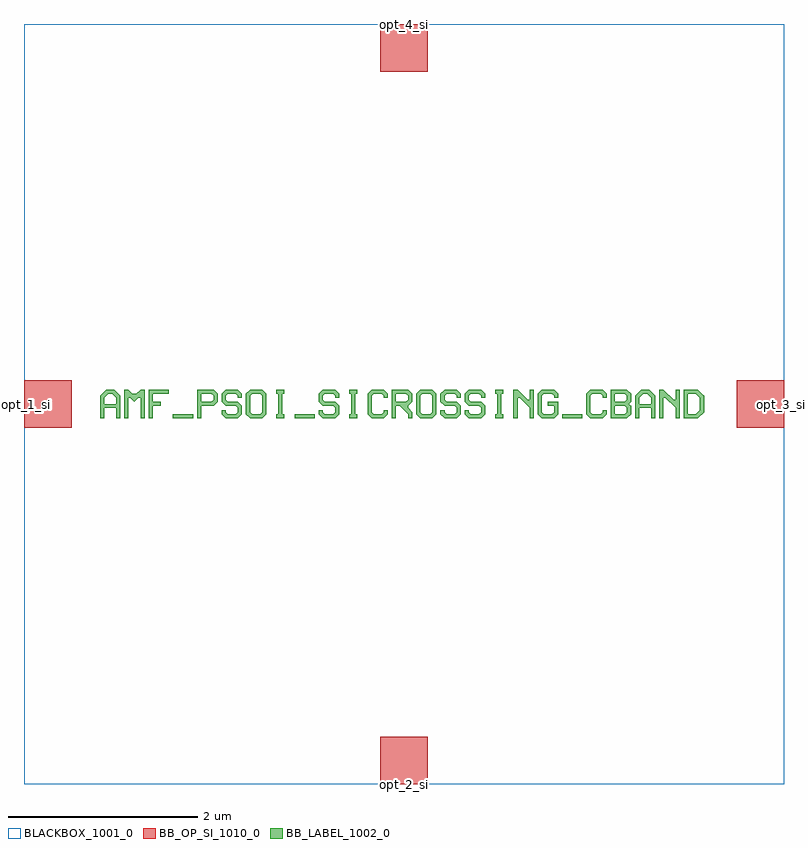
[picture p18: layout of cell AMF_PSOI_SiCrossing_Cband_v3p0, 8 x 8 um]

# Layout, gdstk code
import gdstk
lib = gdstk.Library(unit=1e-6, precision=1e-09)
def R(c, l, rs):  # rectangles x0, y0, x1, y1
    for r in rs: c.add(gdstk.rectangle(r[:2], r[2:], *l))
def P(c, l, *ps):  # polygons
    for p in ps: c.add(gdstk.Polygon(p, *l))
BLACKBOX_1001_0 = (1001, 0)
BB_LABEL_1002_0 = (1002, 0)
BB_OP_SI_1010_0 = (1010, 0)

amf_psoi_sicrossing_cban = lib.new_cell('AMF_PSOI_SiCrossing_Cband_v3p0')
R(amf_psoi_sicrossing_cban, BLACKBOX_1001_0, [(0,-4,8,4)])
R(amf_psoi_sicrossing_cban, BB_LABEL_1002_0, [(1.568,-0.149,1.782,-0.106), (2.848,-0.149,3.062,-0.106), (5.664,-0.149,5.878,-0.106)])
P(amf_psoi_sicrossing_cban, BB_LABEL_1002_0, [(0.8,-0.149),(0.8,0.086),(0.864,0.15),(0.949,0.15),(0.992,0.107),(0.885,0.107),(0.843,0.065),(0.843,0),(0.971,0),(0.971,0.065),(0.928,0.107),(0.992,0.107),(1.014,0.086),(1.014,-0.149),(0.971,-0.149),(0.971,-0.042),(0.843,-0.042),(0.843,-0.149)],
  [(1.056,-0.149),(1.056,0.15),(1.099,0.15),(1.141,0.107),(1.184,0.107),(1.227,0.15),(1.27,0.15),(1.27,-0.149),(1.227,-0.149),(1.227,0.065),(1.205,0.065),(1.163,0.022),(1.12,0.065),(1.099,0.065),(1.099,-0.149)],
  [(1.312,-0.149),(1.312,0.15),(1.526,0.15),(1.526,0.107),(1.355,0.107),(1.355,0.022),(1.44,0.022),(1.44,-0.021),(1.355,-0.021),(1.355,-0.149)],
  [(1.824,-0.149),(1.824,0.15),(1.995,0.15),(2.038,0.107),(2.038,0.022),(1.995,-0.021),(1.867,-0.021),(1.867,0.022),(1.973,0.022),(1.995,0.043),(1.995,0.086),(1.973,0.107),(1.867,0.107),(1.867,-0.149)],
  [(2.123,-0.149),(2.08,-0.106),(2.08,-0.064),(2.123,-0.064),(2.123,-0.085),(2.144,-0.106),(2.229,-0.106),(2.251,-0.085),(2.251,-0.042),(2.229,-0.021),(2.123,-0.021),(2.08,0.022),(2.08,0.107),(2.123,0.15),(2.251,0.15),(2.294,0.107),(2.294,0.065),(2.251,0.065),(2.251,0.086),(2.229,0.107),(2.144,0.107),(2.123,0.086),(2.123,0.043),(2.144,0.022),(2.251,0.022),(2.294,-0.021),(2.294,-0.106),(2.251,-0.149)],
  [(2.379,-0.149),(2.336,-0.106),(2.336,0.107),(2.379,0.15),(2.507,0.15),(2.55,0.107),(2.55,0),(2.507,0),(2.507,0.086),(2.485,0.107),(2.4,0.107),(2.379,0.086),(2.379,-0.085),(2.4,-0.106),(2.485,-0.106),(2.507,-0.085),(2.507,0),(2.55,0),(2.55,-0.106),(2.507,-0.149)],
  [(2.656,-0.149),(2.656,-0.106),(2.677,-0.106),(2.677,0.107),(2.656,0.107),(2.656,0.15),(2.741,0.15),(2.741,0.107),(2.72,0.107),(2.72,-0.106),(2.741,-0.106),(2.741,-0.149)],
  [(3.147,-0.149),(3.104,-0.106),(3.104,-0.064),(3.147,-0.064),(3.147,-0.085),(3.168,-0.106),(3.253,-0.106),(3.275,-0.085),(3.275,-0.042),(3.253,-0.021),(3.147,-0.021),(3.104,0.022),(3.104,0.107),(3.147,0.15),(3.275,0.15),(3.318,0.107),(3.318,0.065),(3.275,0.065),(3.275,0.086),(3.253,0.107),(3.168,0.107),(3.147,0.086),(3.147,0.043),(3.168,0.022),(3.275,0.022),(3.318,-0.021),(3.318,-0.106),(3.275,-0.149)],
  [(3.424,-0.149),(3.424,-0.106),(3.445,-0.106),(3.445,0.107),(3.424,0.107),(3.424,0.15),(3.509,0.15),(3.509,0.107),(3.488,0.107),(3.488,-0.106),(3.509,-0.106),(3.509,-0.149)],
  [(3.659,-0.149),(3.616,-0.106),(3.616,0.107),(3.659,0.15),(3.787,0.15),(3.83,0.107),(3.83,0.065),(3.787,0.065),(3.787,0.086),(3.765,0.107),(3.68,0.107),(3.659,0.086),(3.659,-0.085),(3.68,-0.106),(3.765,-0.106),(3.787,-0.085),(3.787,-0.064),(3.83,-0.064),(3.83,-0.106),(3.787,-0.149)],
  [(3.872,-0.149),(3.872,0.15),(4.043,0.15),(4.086,0.107),(3.915,0.107),(3.915,0.022),(4.021,0.022),(4.043,0.043),(4.043,0.086),(4.021,0.107),(4.086,0.107),(4.086,0.022),(4.043,-0.021),(4.043,-0.042),(4.086,-0.085),(4.086,-0.149),(4.043,-0.149),(4.043,-0.106),(3.957,-0.021),(3.915,-0.021),(3.915,-0.149)],
  [(4.171,-0.149),(4.128,-0.106),(4.128,0.107),(4.171,0.15),(4.299,0.15),(4.342,0.107),(4.342,0),(4.299,0),(4.299,0.086),(4.277,0.107),(4.192,0.107),(4.171,0.086),(4.171,-0.085),(4.192,-0.106),(4.277,-0.106),(4.299,-0.085),(4.299,0),(4.342,0),(4.342,-0.106),(4.299,-0.149)],
  [(4.427,-0.149),(4.384,-0.106),(4.384,-0.064),(4.427,-0.064),(4.427,-0.085),(4.448,-0.106),(4.533,-0.106),(4.555,-0.085),(4.555,-0.042),(4.533,-0.021),(4.427,-0.021),(4.384,0.022),(4.384,0.107),(4.427,0.15),(4.555,0.15),(4.598,0.107),(4.598,0.065),(4.555,0.065),(4.555,0.086),(4.533,0.107),(4.448,0.107),(4.427,0.086),(4.427,0.043),(4.448,0.022),(4.555,0.022),(4.598,-0.021),(4.598,-0.106),(4.555,-0.149)],
  [(4.683,-0.149),(4.64,-0.106),(4.64,-0.064),(4.683,-0.064),(4.683,-0.085),(4.704,-0.106),(4.789,-0.106),(4.811,-0.085),(4.811,-0.042),(4.789,-0.021),(4.683,-0.021),(4.64,0.022),(4.64,0.107),(4.683,0.15),(4.811,0.15),(4.854,0.107),(4.854,0.065),(4.811,0.065),(4.811,0.086),(4.789,0.107),(4.704,0.107),(4.683,0.086),(4.683,0.043),(4.704,0.022),(4.811,0.022),(4.854,-0.021),(4.854,-0.106),(4.811,-0.149)],
  [(4.96,-0.149),(4.96,-0.106),(4.981,-0.106),(4.981,0.107),(4.96,0.107),(4.96,0.15),(5.045,0.15),(5.045,0.107),(5.024,0.107),(5.024,-0.106),(5.045,-0.106),(5.045,-0.149)],
  [(5.152,-0.149),(5.152,0.15),(5.195,0.15),(5.301,0.043),(5.323,0.043),(5.323,0.15),(5.366,0.15),(5.366,-0.149),(5.323,-0.149),(5.323,-0.042),(5.216,0.065),(5.195,0.065),(5.195,-0.149)],
  [(5.451,-0.149),(5.408,-0.106),(5.408,0.107),(5.451,0.15),(5.579,0.15),(5.622,0.107),(5.622,0.065),(5.579,0.065),(5.579,0.086),(5.557,0.107),(5.472,0.107),(5.451,0.086),(5.451,-0.085),(5.472,-0.106),(5.557,-0.106),(5.579,-0.085),(5.579,-0.021),(5.515,-0.021),(5.515,0.022),(5.622,0.022),(5.622,-0.106),(5.579,-0.149)],
  [(5.963,-0.149),(5.92,-0.106),(5.92,0.107),(5.963,0.15),(6.091,0.15),(6.134,0.107),(6.134,0.065),(6.091,0.065),(6.091,0.086),(6.069,0.107),(5.984,0.107),(5.963,0.086),(5.963,-0.085),(5.984,-0.106),(6.069,-0.106),(6.091,-0.085),(6.091,-0.064),(6.134,-0.064),(6.134,-0.106),(6.091,-0.149)],
  [(6.176,-0.149),(6.176,0.15),(6.347,0.15),(6.39,0.107),(6.219,0.107),(6.219,0.022),(6.325,0.022),(6.347,0.043),(6.347,0.086),(6.325,0.107),(6.39,0.107),(6.39,0.022),(6.368,0),(6.39,-0.021),(6.219,-0.021),(6.219,-0.106),(6.325,-0.106),(6.347,-0.085),(6.347,-0.042),(6.325,-0.021),(6.39,-0.021),(6.39,-0.106),(6.347,-0.149)],
  [(6.432,-0.149),(6.432,0.086),(6.496,0.15),(6.581,0.15),(6.624,0.107),(6.517,0.107),(6.475,0.065),(6.475,0),(6.603,0),(6.603,0.065),(6.56,0.107),(6.624,0.107),(6.646,0.086),(6.646,-0.149),(6.603,-0.149),(6.603,-0.042),(6.475,-0.042),(6.475,-0.149)],
  [(6.688,-0.149),(6.688,0.15),(6.731,0.15),(6.837,0.043),(6.859,0.043),(6.859,0.15),(6.902,0.15),(6.902,-0.149),(6.859,-0.149),(6.859,-0.042),(6.752,0.065),(6.731,0.065),(6.731,-0.149)],
  [(6.944,-0.149),(6.944,0.15),(7.093,0.15),(7.136,0.107),(6.987,0.107),(6.987,-0.106),(7.072,-0.106),(7.115,-0.064),(7.115,0.065),(7.072,0.107),(7.136,0.107),(7.158,0.086),(7.158,-0.085),(7.093,-0.149)])
R(amf_psoi_sicrossing_cban, BB_OP_SI_1010_0, [(3.75,-4,4.25,-3.5), (0,-0.25,0.5,0.25), (7.5,-0.25,8,0.25), (3.75,3.5,4.25,4)])
amf_psoi_sicrossing_cban.add(gdstk.Label('opt_3_si', (8,0), layer=1010, texttype=0))
amf_psoi_sicrossing_cban.add(gdstk.Label('opt_4_si', (4,4), layer=1010, texttype=0))
amf_psoi_sicrossing_cban.add(gdstk.Label('opt_2_si', (4,-4), layer=1010, texttype=0))
amf_psoi_sicrossing_cban.add(gdstk.Label('opt_1_si', (0,0), layer=1010, texttype=0))

lib.write_gds('AMF_PSOI_SiCrossing_Cband_v3p0.gds')
